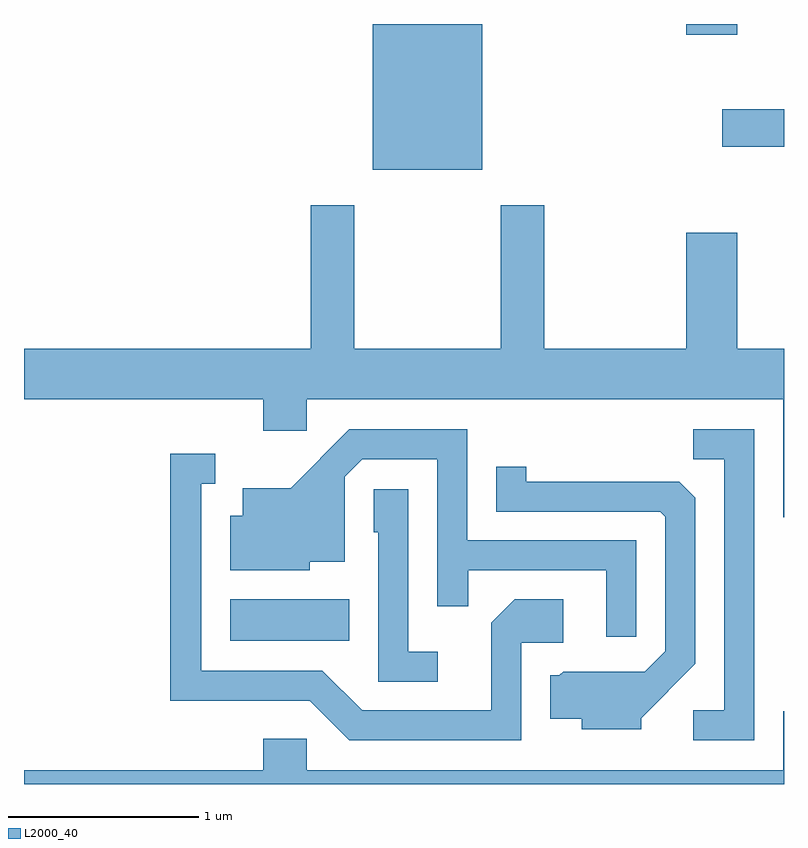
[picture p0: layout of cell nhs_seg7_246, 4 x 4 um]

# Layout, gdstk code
import gdstk
lib = gdstk.Library(unit=1e-6, precision=1e-09)
def R(c, l, rs):  # rectangles x0, y0, x1, y1
    for r in rs: c.add(gdstk.rectangle(r[:2], r[2:], *l))
def P(c, l, *ps):  # polygons
    for p in ps: c.add(gdstk.Polygon(p, *l))
L2000_40 = (2000, 40)

nhs_seg7_246 = lib.new_cell('nhs_seg7_246')
R(nhs_seg7_246, L2000_40, [(192.696,1753.006,193.324,1753.224), (193.446,1755.486,194.024,1756.252), (195.286,1755.606,195.611,1755.804), (195.096,1756.196,195.364,1756.252)])
P(nhs_seg7_246, L2000_40, [(195.611,1754.544),(195.364,1754.544),(195.364,1755.154),(195.096,1755.154),(195.096,1754.544),(194.349,1754.544),(194.349,1755.299),(194.121,1755.299),(194.121,1754.544),(193.349,1754.544),(193.349,1755.299),(193.121,1755.299),(193.121,1754.544),(191.611,1754.544),(191.611,1754.276),(192.871,1754.276),(192.871,1754.111),(193.099,1754.111),(193.099,1754.276),(195.606,1754.276),(195.606,1753.656),(195.611,1753.656)],
  [(195.454,1754.119),(195.133,1754.119),(195.133,1753.961),(195.296,1753.961),(195.296,1752.639),(195.133,1752.639),(195.133,1752.481),(195.454,1752.481)],
  [(194.834,1753.534),(193.944,1753.534),(193.944,1754.119),(193.324,1754.119),(193.014,1753.809),(192.761,1753.809),(192.761,1753.664),(192.696,1753.664),(192.696,1753.376),(193.114,1753.376),(193.114,1753.421),(193.299,1753.421),(193.299,1753.869),(193.392,1753.961),(193.786,1753.961),(193.786,1753.188),(193.949,1753.188),(193.949,1753.376),(194.676,1753.376),(194.676,1753.028),(194.834,1753.028)],
  [(194.229,1752.996),(194.449,1752.996),(194.449,1753.224),(194.194,1753.224),(194.071,1753.102),(194.071,1752.639),(193.392,1752.639),(193.182,1752.849),(192.544,1752.849),(192.544,1753.831),(192.618,1753.831),(192.618,1753.989),(192.381,1753.989),(192.381,1752.691),(193.114,1752.691),(193.324,1752.481),(194.229,1752.481)],
  [(194.859,1752.599),(195.144,1752.884),(195.144,1753.759),(195.059,1753.844),(194.254,1753.844),(194.254,1753.923),(194.096,1753.923),(194.096,1753.686),(194.959,1753.686),(194.986,1753.659),(194.986,1752.952),(194.879,1752.844),(194.449,1752.844),(194.429,1752.824),(194.381,1752.824),(194.381,1752.596),(194.546,1752.596),(194.546,1752.541),(194.859,1752.541)],
  [(193.788,1752.949),(193.634,1752.949),(193.634,1753.804),(193.451,1753.804),(193.451,1753.576),(193.476,1753.576),(193.476,1752.791),(193.788,1752.791)],
  [(195.611,1752.634),(195.606,1752.634),(195.606,1752.324),(193.099,1752.324),(193.099,1752.489),(192.871,1752.489),(192.871,1752.324),(191.611,1752.324),(191.611,1752.252),(195.611,1752.252)])

lib.write_gds('nhs_seg7_246.gds')
